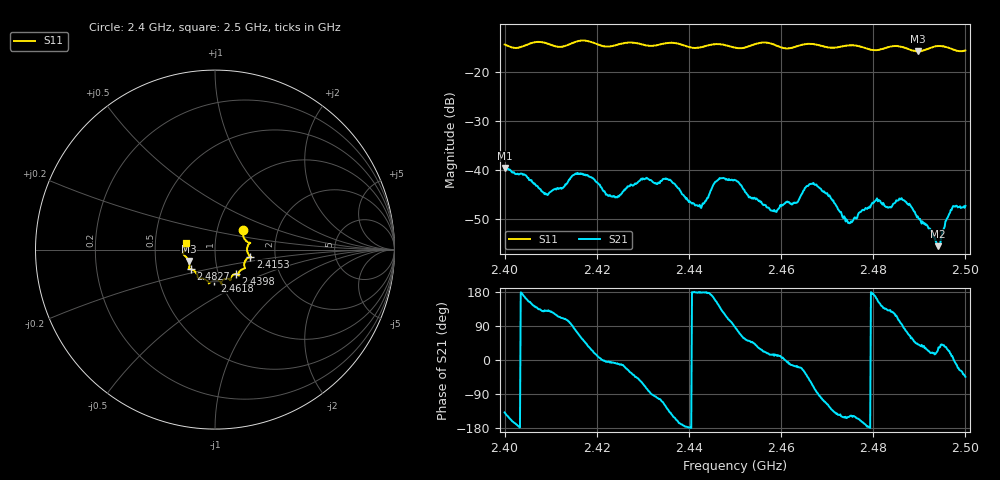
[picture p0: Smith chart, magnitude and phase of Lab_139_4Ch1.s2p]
# Hz S RI R 50
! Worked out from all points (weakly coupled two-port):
!   601 points, 2.4 GHz to 2.5 GHz, reference 50 ohm
!   highest |S21| = -39.66 dB at 2.4 GHz (marker M1); lowest = -55.6 dB at 2.494 GHz (marker M2)
!   lowest |S11| = -15.9 dB at 2.4897 GHz (marker M3), VSWR 1.38, Z = 36.9 - j4.81 ohm
!   |S11| at or under -10 dB: start of sweep to end of sweep
!   S12 and S22 are empty: the file has one direction only
!   S11 on the Smith chart (normalised r, x): 2.4 GHz: 1.33, +0.29; 2.4153 GHz: 1.48, -0.12; 2.4398 GHz: 1.21, -0.34; 2.4618 GHz: 0.94, -0.33; 2.4827 GHz: 0.75, -0.17; 2.5 GHz: 0.72, +0.06
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2.4e9  0.1551 0.1068  -0.00775 -0.00693  0 0  0 0
2.409e9  0.1919 0.0344  -0.00356 0.00432  0 0  0 0
2.415333e9  0.1965 -0.039  0.00166 0.00891  0 0  0 0
2.416667e9  0.2025 -0.0431  0.00481 0.00764  0 0  0 0
2.424e9  0.1627 -0.0877  0.00515 -0.0007  0 0  0 0
2.433333e9  0.1307 -0.1336  -0.00146 -0.00724  0 0  0 0
2.435833e9  0.132 -0.1451  -0.00589 -0.00528  0 0  0 0
2.439833e9  0.1155 -0.136  -0.00485 -0.000243  0 0  0 0
2.4425e9  0.0919 -0.1503  -0.00414 7.21e-05  0 0  0 0
2.446167e9  0.0849 -0.1703  -0.00666 0.00396  0 0  0 0
2.45e9  0.0655 -0.1624  0.00034 0.00781  0 0  0 0
2.458167e9  0.0366 -0.1868  0.00369 0.000897  0 0  0 0
2.461833e9  -0.00283 -0.1727  0.00452 -0.000744  0 0  0 0
2.466667e9  -0.0343 -0.1882  0.00328 -0.00637  0 0  0 0
2.4745e9  -0.0908 -0.1606  -0.00249 -0.00143  0 0  0 0
2.482667e9  -0.1352 -0.1094  -0.00301 0.00294  0 0  0 0
2.483333e9  -0.1402 -0.109  -0.00269 0.00309  0 0  0 0
2.486167e9  -0.1455 -0.1035  -0.000408 0.0051  0 0  0 0
2.489667e9  -0.147 -0.0635  0.00251 0.00219  0 0  0 0
2.494e9  -0.1804 -0.0228  0.00151 0.000698  0 0  0 0
2.497e9  -0.1701 -0.00737  0.0038 0.000696  0 0  0 0
2.5e9  -0.1592 0.0388  0.00305 -0.00298  0 0  0 0
